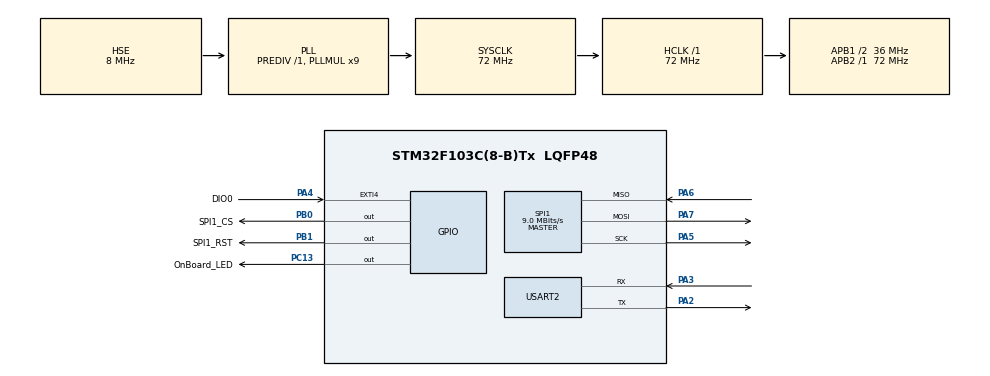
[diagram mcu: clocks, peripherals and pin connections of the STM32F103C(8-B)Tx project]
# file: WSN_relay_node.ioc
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Mcu.Family=STM32F1
Mcu.Name=STM32F103C(8-B)Tx
Mcu.Package=LQFP48
NVIC.EXTI4_IRQn=true\:0\:0\:false\:false\:true\:true\:true\:true
NVIC.PriorityGroup=NVIC_PRIORITYGROUP_4
NVIC.RTC_Alarm_IRQn=true\:0\:0\:false\:false\:true\:true\:true\:true
NVIC.SPI1_IRQn=true\:0\:0\:true\:false\:true\:true\:true\:true
PA13.Mode=Serial_Wire
PA13.Signal=SYS_JTMS-SWDIO
PA14.Mode=Serial_Wire
PA14.Signal=SYS_JTCK-SWCLK
PA2.Mode=Asynchronous
PA2.Signal=USART2_TX
PA3.Mode=Asynchronous
PA3.Signal=USART2_RX
PA4.GPIO_Label=DIO0
PA4.Signal=GPXTI4
PA5.Mode=Full_Duplex_Master
PA5.Signal=SPI1_SCK
PA6.Mode=Full_Duplex_Master
PA6.Signal=SPI1_MISO
PA7.Mode=Full_Duplex_Master
PA7.Signal=SPI1_MOSI
PB0.GPIO_Label=SPI1_CS
PB0.PinState=GPIO_PIN_SET
PB0.Signal=GPIO_Output
PB1.GPIO_Label=SPI1_RST
PB1.PinState=GPIO_PIN_SET
PB1.Signal=GPIO_Output
PC13-TAMPER-RTC.GPIO_Label=OnBoard_LED
PC13-TAMPER-RTC.Signal=GPIO_Output
PC14-OSC32_IN.Mode=LSE-External-Oscillator
PC14-OSC32_IN.Signal=RCC_OSC32_IN
PC15-OSC32_OUT.Mode=LSE-External-Oscillator
PC15-OSC32_OUT.Signal=RCC_OSC32_OUT
PD0-OSC_IN.Mode=HSE-External-Oscillator
PD0-OSC_IN.Signal=RCC_OSC_IN
PD1-OSC_OUT.Mode=HSE-External-Oscillator
PD1-OSC_OUT.Signal=RCC_OSC_OUT
ProjectManager.HeapSize=0x200
ProjectManager.StackSize=0x400
ProjectManager.TargetToolchain=STM32CubeIDE
RCC.AHBFreq_Value=72000000
RCC.APB1CLKDivider=RCC_HCLK_DIV2
RCC.APB1Freq_Value=36000000
RCC.APB1TimFreq_Value=72000000
RCC.APB2Freq_Value=72000000
RCC.APB2TimFreq_Value=72000000
RCC.HCLKFreq_Value=72000000
RCC.PLLMUL=RCC_PLL_MUL9
RCC.PLLSourceVirtual=RCC_PLLSOURCE_HSE
RCC.RTCClockSelection=RCC_RTCCLKSOURCE_LSE
RCC.SYSCLKFreq_VALUE=72000000
RCC.SYSCLKSource=RCC_SYSCLKSOURCE_PLLCLK
RCC.USBFreq_Value=72000000
SPI1.BaudRatePrescaler=SPI_BAUDRATEPRESCALER_8
SPI1.CalculateBaudRate=9.0 MBits/s
SPI1.Direction=SPI_DIRECTION_2LINES
SPI1.Mode=SPI_MODE_MASTER
SPI1.VirtualType=VM_MASTER
TIM4.Prescaler=71
USART2.VirtualMode=VM_ASYNC
VP_RTC_VS_RTC_Activate.Mode=RTC_Enabled
VP_RTC_VS_RTC_Calendar.Mode=RTC_Calendar
VP_TIM4_VS_ClockSourceINT.Mode=Internal
board=custom

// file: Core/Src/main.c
/* USER CODE BEGIN Header */
/**
  ******************************************************************************
  * @file           : main.c
  * @brief          : Main program body
  ******************************************************************************
  * @attention
  *
  * Copyright (c) 2025 STMicroelectronics.
  * All rights reserved.
  *
  * This software is licensed under terms that can be found in the LICENSE file
  * in the root directory of this software component.
  * If no LICENSE file comes with this software, it is provided AS-IS.
  *
  ******************************************************************************
  */
/* USER CODE END Header */
#include "main.h"
#include "rtc.h"
#include "spi.h"
#include "tim.h"
#include "usart.h"
#include "gpio.h"

/* Private includes ----------------------------
 * ------------------------------*/
/* USER CODE BEGIN Includes */
#include "sx1278_lora.h"
#include "lora_app.h"
/* USER CODE END Includes */

/* USER CODE BEGIN PV */

extern uint16_t TOTAL_CYCLE_SEC;

LoRa myLoRa;

uint8_t rxBuffer[128];
uint8_t txBuffer[128];

volatile uint8_t loraRxDoneFlag = 0;
volatile uint8_t alarm_triggered = 0;

Relay_Reg_Queue_t ackQueue = { .count = 0 };

/* USER CODE END PV */

void SystemClock_Config(void);

/* USER CODE BEGIN 0 */

uint8_t initialize_lora() {

    myLoRa.CS_port = SPI1_CS_GPIO_Port;
    myLoRa.CS_pin = SPI1_CS_Pin;
    myLoRa.reset_port = SPI1_RST_GPIO_Port;
    myLoRa.reset_pin = SPI1_RST_Pin;
    myLoRa.DIO0_port = DIO0_GPIO_Port;
    myLoRa.DIO0_pin = DIO0_Pin;
    myLoRa.hSPI = &hspi1;

    // --- Cấu hình LoRa ---
    myLoRa.frequency = 433;
    myLoRa.spredingFactor = SF_7;
    myLoRa.bandWidth = BW_125KHz;
    myLoRa.crcRate = CR_4_5;
    myLoRa.power = POWER_20db;
    myLoRa.overCurrentProtection = 140;
    myLoRa.preamble = 8;

    // --- Thực hiện Reset và Init ---
    LoRa_reset(&myLoRa);
    uint16_t init_result = LoRa_init(&myLoRa);
    if (init_result != LORA_OK) {
        return 0;
    }
    printf("LoRa Init OK. Node ID: %s\r\n", MY_RELAY_ID);
    HAL_GPIO_WritePin(LED_PORT, LED_PIN, 1);
    return 1;
}

/* USER CODE END 0 */

int main(void)
{

  /* MCU Configuration--------------------------------------------------------*/

  /* Reset of all peripherals, Initializes the Flash interface and the Systick. */
  HAL_Init();

  /* Configure the system clock */
  SystemClock_Config();

  /* Initialize all configured peripherals */
  MX_GPIO_Init();
  MX_SPI1_Init();
  MX_TIM4_Init();
  MX_RTC_Init();
  MX_USART2_UART_Init();
  /* USER CODE BEGIN 2 */

  __HAL_RCC_PWR_CLK_ENABLE();

  // --- LORA INIT ---
  if(initialize_lora() == 0) {
	  printf("LoRa Init Failed!\r\n");
  }

  // --- PHA ĐĂNG KÝ (REGISTRATION PHASE) ---
  if (LoRaApp_Relay_RegistrationWithGateway(&myLoRa, rxBuffer, sizeof(rxBuffer),
                                              &loraRxDoneFlag, MY_RELAY_ID)) {
        printf("[RELAY] Registered with GW! Starting Main loop.\r\n");
    }

  /* USER CODE END 2 */

  /* Infinite loop */
  /* USER CODE BEGIN WHILE */
  while (1)
  {

	  // --- PHA BÁO CÁO (REPORT PHASE) ---
	  printf("\r\n[RELAY] >>> NEW CYCLE STARTED <<<\r\n");

	  //Reset struct quản lý dữ liệu
	  LoRaApp_Relay_Init();

	  //TASK 1: GỬI ACK tới Sensor node đăng ký pha trước (Timeout: RELAY_ACK_WINDOW_MS)
	  printf("[RELAY] Sending ACK (%d ms)...\r\n", RELAY_ACK_WINDOW_MS);
	  LoRaApp_Relay_Task_SendACKs(&myLoRa, MY_RELAY_ID, &ackQueue);

	  //TASK 2: Lắng nghe gói tin tới (Timeout: RELAY_RX_WINDOW_MS)
	  uint32_t start_rx = HAL_GetTick();
	  printf("[RELAY] Listening TX (%d ms)...\r\n", RELAY_RX_WINDOW_MS);
	  while (HAL_GetTick() - start_rx < RELAY_RX_WINDOW_MS) {
	            if (loraRxDoneFlag) {
	                loraRxDoneFlag = 0;
	                memset(rxBuffer, 0, sizeof(rxBuffer));
	                int len = LoRa_receive(&myLoRa, rxBuffer, sizeof(rxBuffer)-1);
	                if (len > 0) {
	                    LoRaApp_Relay_RxProcessing(&myLoRa, rxBuffer, MY_RELAY_ID, &ackQueue);
	                }
	            }
	        }

	  //TASK 3: Tổng hợp, tạo và Forward bản tin dữ liệu tới Gateway (Timeout: RELAY_GW_WINDOW_MS)
	  LoRaApp_Relay_Task_ForwardToGateway(&myLoRa, MY_RELAY_ID);

	  //--- CÀI ĐẶT RTC + VÀO CHẾ ĐỘ STOP MODE ---
	  uint32_t sleep_sec = TOTAL_CYCLE_SEC - (RELAY_ACK_WINDOW_MS + RELAY_RX_WINDOW_MS + RELAY_GW_WINDOW_MS)/1000;

	  printf("[RELAY] Sleep time: %lu s.\r\n", sleep_sec);

	  RTC_SetAlarm_In_Seconds(sleep_sec);
	  Enter_Stop_Mode();

	  //--- STOP MODE tại đây đến khi có ngắt RTC ---

    /* USER CODE END WHILE */

  }
}

void SystemClock_Config(void)
{
  RCC_OscInitTypeDef RCC_OscInitStruct = {0};
  RCC_ClkInitTypeDef RCC_ClkInitStruct = {0};
  RCC_PeriphCLKInitTypeDef PeriphClkInit = {0};

  /** Initializes the RCC Oscillators according to the specified parameters
  * in the RCC_OscInitTypeDef structure.
  */
  RCC_OscInitStruct.OscillatorType = RCC_OSCILLATORTYPE_HSE|RCC_OSCILLATORTYPE_LSE;
  RCC_OscInitStruct.HSEState = RCC_HSE_ON;
  RCC_OscInitStruct.HSEPredivValue = RCC_HSE_PREDIV_DIV1;
  RCC_OscInitStruct.LSEState = RCC_LSE_ON;
  RCC_OscInitStruct.HSIState = RCC_HSI_ON;
  RCC_OscInitStruct.PLL.PLLState = RCC_PLL_ON;
  RCC_OscInitStruct.PLL.PLLSource = RCC_PLLSOURCE_HSE;
  RCC_OscInitStruct.PLL.PLLMUL = RCC_PLL_MUL9;
  if (HAL_RCC_OscConfig(&RCC_OscInitStruct) != HAL_OK)
  {
    Error_Handler();
  }

  /** Initializes the CPU, AHB and APB buses clocks
  */
  RCC_ClkInitStruct.ClockType = RCC_CLOCKTYPE_HCLK|RCC_CLOCKTYPE_SYSCLK
                              |RCC_CLOCKTYPE_PCLK1|RCC_CLOCKTYPE_PCLK2;
  RCC_ClkInitStruct.SYSCLKSource = RCC_SYSCLKSOURCE_PLLCLK;
  RCC_ClkInitStruct.AHBCLKDivider = RCC_SYSCLK_DIV1;
  RCC_ClkInitStruct.APB1CLKDivider = RCC_HCLK_DIV2;
  RCC_ClkInitStruct.APB2CLKDivider = RCC_HCLK_DIV1;

  if (HAL_RCC_ClockConfig(&RCC_ClkInitStruct, FLASH_LATENCY_2) != HAL_OK)
  {
    Error_Handler();
  }
  PeriphClkInit.PeriphClockSelection = RCC_PERIPHCLK_RTC;
  PeriphClkInit.RTCClockSelection = RCC_RTCCLKSOURCE_LSE;
  if (HAL_RCCEx_PeriphCLKConfig(&PeriphClkInit) != HAL_OK)
  {
    Error_Handler();
  }
}

/* USER CODE BEGIN 4 */

// Hàm printf qua UART2
#ifdef __GNUC__
#define PUTCHAR_PROTOTYPE int __io_putchar(int ch)
#else
#define PUTCHAR_PROTOTYPE int fputc(int ch, FILE *f)
#endif

PUTCHAR_PROTOTYPE {
    HAL_UART_Transmit(&huart2, (uint8_t *)&ch, 1, HAL_MAX_DELAY);
    return ch;
}

//===================== CALLBACK XỬ LÝ NGẮT DIO0 ===========================
void HAL_GPIO_EXTI_Callback(uint16_t GPIO_Pin)
{
    if (GPIO_Pin == myLoRa.DIO0_pin) {
        loraRxDoneFlag = 1;
//        printf("[RELAY] DIO0 Interrupt Triggered!\r\n");
    }

}

void HAL_RTC_AlarmAEventCallback(RTC_HandleTypeDef *hrtc)
{
//    // Bật lại SysTick
//    HAL_ResumeTick();
//
//    // Khôi phục lại Clock
//    SystemClock_Config_FromStop();

	alarm_triggered = 1;
	// Nháy đèn nhanh để biết ngắt đã vào
	HAL_GPIO_TogglePin(GPIOC, GPIO_PIN_13);

}

/* USER CODE END 4 */

void Error_Handler(void)
{
  __disable_irq();
  while (1)
  {
  }
}
